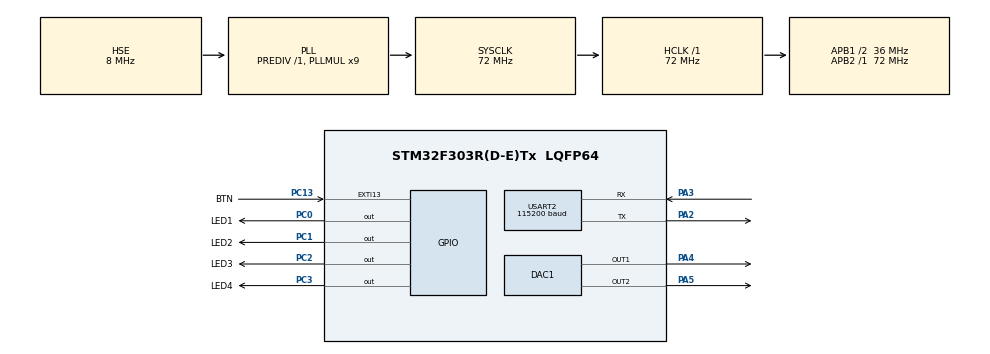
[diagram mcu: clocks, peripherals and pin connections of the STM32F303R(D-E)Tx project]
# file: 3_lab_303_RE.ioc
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DAC1.DAC_Trigger=DAC_TRIGGER_T6_TRGO
DAC1.DAC_Trigger2=DAC_TRIGGER_T7_TRGO
Dma.DAC1_CH1.2.Direction=DMA_MEMORY_TO_PERIPH
Dma.DAC1_CH1.2.Instance=DMA1_Channel3
Dma.DAC1_CH1.2.MemDataAlignment=DMA_MDATAALIGN_HALFWORD
Dma.DAC1_CH1.2.MemInc=DMA_MINC_ENABLE
Dma.DAC1_CH1.2.Mode=DMA_CIRCULAR
Dma.DAC1_CH1.2.PeriphDataAlignment=DMA_PDATAALIGN_HALFWORD
Dma.DAC1_CH1.2.PeriphInc=DMA_PINC_DISABLE
Dma.DAC1_CH1.2.Priority=DMA_PRIORITY_LOW
Dma.DAC1_CH2.3.Direction=DMA_MEMORY_TO_PERIPH
Dma.DAC1_CH2.3.Instance=DMA1_Channel4
Dma.DAC1_CH2.3.MemDataAlignment=DMA_MDATAALIGN_HALFWORD
Dma.DAC1_CH2.3.MemInc=DMA_MINC_ENABLE
Dma.DAC1_CH2.3.Mode=DMA_CIRCULAR
Dma.DAC1_CH2.3.PeriphDataAlignment=DMA_PDATAALIGN_HALFWORD
Dma.DAC1_CH2.3.PeriphInc=DMA_PINC_DISABLE
Dma.DAC1_CH2.3.Priority=DMA_PRIORITY_LOW
Dma.Request0=USART2_RX
Dma.Request1=USART2_TX
Dma.Request2=DAC1_CH1
Dma.Request3=DAC1_CH2
Dma.USART2_RX.0.Direction=DMA_PERIPH_TO_MEMORY
Dma.USART2_RX.0.Instance=DMA1_Channel6
Dma.USART2_RX.0.MemDataAlignment=DMA_MDATAALIGN_BYTE
Dma.USART2_RX.0.MemInc=DMA_MINC_ENABLE
Dma.USART2_RX.0.Mode=DMA_NORMAL
Dma.USART2_RX.0.PeriphDataAlignment=DMA_PDATAALIGN_BYTE
Dma.USART2_RX.0.PeriphInc=DMA_PINC_DISABLE
Dma.USART2_RX.0.Priority=DMA_PRIORITY_LOW
Dma.USART2_TX.1.Direction=DMA_MEMORY_TO_PERIPH
Dma.USART2_TX.1.Instance=DMA1_Channel7
Dma.USART2_TX.1.MemDataAlignment=DMA_MDATAALIGN_BYTE
Dma.USART2_TX.1.MemInc=DMA_MINC_ENABLE
Dma.USART2_TX.1.Mode=DMA_NORMAL
Dma.USART2_TX.1.PeriphDataAlignment=DMA_PDATAALIGN_BYTE
Dma.USART2_TX.1.PeriphInc=DMA_PINC_DISABLE
Dma.USART2_TX.1.Priority=DMA_PRIORITY_LOW
FREERTOS.Tasks01=defaultTask,0,128,StartDefaultTask,Default,NULL,Dynamic,NULL,NULL;myTask02,-3,128,StartTask02,Default,NULL,Dynamic,NULL,NULL
FREERTOS.configUSE_NEWLIB_REENTRANT=1
Mcu.Family=STM32F3
Mcu.Name=STM32F303R(D-E)Tx
Mcu.Package=LQFP64
NVIC.DMA1_Channel3_IRQn=true\:5\:0\:false\:false\:true\:true\:false\:true\:true
NVIC.DMA1_Channel4_IRQn=true\:5\:0\:false\:false\:true\:true\:false\:true\:true
NVIC.DMA1_Channel6_IRQn=true\:5\:0\:false\:false\:true\:true\:false\:true\:true
NVIC.DMA1_Channel7_IRQn=true\:5\:0\:false\:false\:true\:true\:false\:true\:true
NVIC.EXTI15_10_IRQn=true\:5\:0\:false\:false\:true\:true\:true\:true\:true
NVIC.FLASH_IRQn=true\:5\:0\:false\:false\:true\:true\:true\:true\:true
NVIC.FPU_IRQn=true\:5\:0\:false\:false\:true\:true\:true\:false\:true
NVIC.PVD_IRQn=true\:5\:0\:false\:false\:true\:true\:true\:true\:true
NVIC.PriorityGroup=NVIC_PRIORITYGROUP_4
NVIC.RCC_IRQn=true\:5\:0\:false\:false\:true\:true\:true\:false\:true
NVIC.TIM6_DAC_IRQn=true\:5\:0\:false\:false\:true\:true\:true\:true\:true
NVIC.TIM7_IRQn=true\:5\:0\:false\:false\:true\:true\:true\:true\:true
NVIC.USART2_IRQn=true\:5\:0\:false\:false\:true\:true\:true\:true\:true
PA13.Mode=Serial_Wire
PA13.Signal=SYS_JTMS-SWDIO
PA14.Mode=Serial_Wire
PA14.Signal=SYS_JTCK-SWCLK
PA2.Mode=Asynchronous
PA2.Signal=USART2_TX
PA3.Mode=Asynchronous
PA3.Signal=USART2_RX
PA4.Signal=COMP_DAC11_group
PA5.Signal=COMP_DAC12_group
PC0.GPIO_Label=LED1
PC0.Signal=GPIO_Output
PC1.GPIO_Label=LED2
PC1.Signal=GPIO_Output
PC13.GPIO_Label=BTN
PC13.Signal=GPXTI13
PC2.GPIO_Label=LED3
PC2.Signal=GPIO_Output
PC3.GPIO_Label=LED4
PC3.Signal=GPIO_Output
PF0-OSC_IN.Mode=HSE-External-Oscillator
PF0-OSC_IN.Signal=RCC_OSC_IN
PF1-OSC_OUT.Mode=HSE-External-Oscillator
PF1-OSC_OUT.Signal=RCC_OSC_OUT
ProjectManager.HeapSize=0x200
ProjectManager.StackSize=0x400
ProjectManager.TargetToolchain=STM32CubeIDE
RCC.AHBFreq_Value=72000000
RCC.APB1CLKDivider=RCC_HCLK_DIV2
RCC.APB1Freq_Value=36000000
RCC.APB1TimFreq_Value=72000000
RCC.APB2Freq_Value=72000000
RCC.APB2TimFreq_Value=72000000
RCC.CortexFreq_Value=72000000
RCC.HCLKFreq_Value=72000000
RCC.HSE_VALUE=8000000
RCC.HSI_VALUE=8000000
RCC.LSE_VALUE=32768
RCC.PLLMUL=RCC_PLL_MUL9
RCC.PLLSourceVirtual=RCC_PLLSOURCE_HSE
RCC.SYSCLKFreq_VALUE=72000000
RCC.SYSCLKSourceVirtual=RCC_SYSCLKSOURCE_PLLCLK
RCC.USBFreq_Value=72000000
SH.COMP_DAC11_group.0=DAC1_OUT1,DAC_OUT1
SH.COMP_DAC12_group.0=DAC1_OUT2,Enable_DAC_OUT2
TIM6.AutoReloadPreload=TIM_AUTORELOAD_PRELOAD_DISABLE
TIM6.Period=7199
TIM6.Prescaler=0
TIM6.TIM_MasterOutputTrigger=TIM_TRGO_UPDATE
TIM7.Period=7199
TIM7.Prescaler=0
TIM7.TIM_MasterOutputTrigger=TIM_TRGO_UPDATE
USART2.BaudRate=115200
USART2.VirtualMode-Asynchronous=VM_ASYNC
VP_FREERTOS_VS_CMSIS_V1.Mode=CMSIS_V1
VP_TIM6_VS_ClockSourceINT.Mode=Enable_Timer
VP_TIM7_VS_ClockSourceINT.Mode=Enable_Timer
board=custom

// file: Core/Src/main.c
/* USER CODE BEGIN Header */
/**
  ******************************************************************************
  * @file           : main.c
  * @brief          : Main program body
  ******************************************************************************
  * @attention
  *
  * Copyright (c) 2023 STMicroelectronics.
  * All rights reserved.
  *
  * This software is licensed under terms that can be found in the LICENSE file
  * in the root directory of this software component.
  * If no LICENSE file comes with this software, it is provided AS-IS.
  *
  ******************************************************************************
  */
/* USER CODE END Header */
#include "main.h"
#include "cmsis_os.h"

/* USER CODE BEGIN Includes */
#include "stdio.h"
#include <string.h>
#include <stdlib.h>
#include <ctype.h>
#include <math.h>
#include "main.h"
#include "cmsis_os.h"
/* USER CODE END Includes */

/* USER CODE BEGIN PD */
#define RxBuf_SIZE 16
#define TxBuf_SIZE 1024
#define DAC_BUFFER_SIZE 256
/* USER CODE END PD */

DAC_HandleTypeDef hdac1;
DMA_HandleTypeDef hdma_dac1_ch1;
DMA_HandleTypeDef hdma_dac1_ch2;

TIM_HandleTypeDef htim6;
TIM_HandleTypeDef htim7;

UART_HandleTypeDef huart2;
DMA_HandleTypeDef hdma_usart2_rx;
DMA_HandleTypeDef hdma_usart2_tx;

osThreadId defaultTaskHandle;
osThreadId myTask02Handle;
/* USER CODE BEGIN PV */
uint8_t TxBuf[TxBuf_SIZE];
uint8_t RxBuf[RxBuf_SIZE];
StackType_t task2_stack[configMINIMAL_STACK_SIZE];
StaticTask_t task2_TCB;

int count = 0;
int size = 0;
int flag = 0;

/* USER CODE END PV */

void SystemClock_Config(void);
static void MX_GPIO_Init(void);
static void MX_DMA_Init(void);
static void MX_USART2_UART_Init(void);
static void MX_DAC1_Init(void);
static void MX_TIM6_Init(void);
static void MX_TIM7_Init(void);
void StartDefaultTask(void const * argument);
void StartTask02(void const * argument);

/* USER CODE BEGIN PFP */
void Task1(void *pvParameters);
void Task2(void *pvParameters);
/* USER CODE END PFP */

/* USER CODE BEGIN 0 */
void blind_first_pair() {
  if (flag == 1) {
    HAL_GPIO_TogglePin(GPIOC, LED1_Pin);
    HAL_GPIO_TogglePin(GPIOC, LED2_Pin);
    vTaskDelay(1000/ portTICK_RATE_MS);
  } else if (flag == 2) {
    HAL_GPIO_TogglePin(GPIOC, LED1_Pin);
    HAL_GPIO_TogglePin(GPIOC, LED2_Pin);
    vTaskDelay(500/ portTICK_RATE_MS);
  }
}

void blind_second_pair() {
  if (flag == 1) {
    HAL_GPIO_TogglePin(GPIOC, LED3_Pin);
    HAL_GPIO_TogglePin(GPIOC, LED4_Pin);
    vTaskDelay(1000 / portTICK_RATE_MS);
  } else if (flag == 2) {
    HAL_GPIO_TogglePin(GPIOC, LED3_Pin);
    HAL_GPIO_TogglePin(GPIOC, LED4_Pin);
    vTaskDelay(500 / portTICK_RATE_MS);
  }
}

void Task1(void *pvParameters){
	for(;;){
		blind_first_pair();
	}
}
void Task2(void *pvParameters){
	for(;;){
		blind_second_pair();
	}
}

void HAL_GPIO_EXTI_Callback(uint16_t GPIO_Pin)
{

	flag = flag % 2 + 1;

}

/* USER CODE END 0 */

int main(void)
{

  /* MCU Configuration--------------------------------------------------------*/

  /* Reset of all peripherals, Initializes the Flash interface and the Systick. */
  HAL_Init();

  /* Configure the system clock */
  SystemClock_Config();

  /* Initialize all configured peripherals */
  MX_GPIO_Init();
  MX_DMA_Init();
  MX_USART2_UART_Init();
  MX_DAC1_Init();
  MX_TIM6_Init();
  MX_TIM7_Init();
  /* USER CODE BEGIN 2 */
  HAL_DAC_Init(&hdac1);
  HAL_TIM_Base_Start(&htim6);
  HAL_TIM_Base_Start(&htim7);

  HAL_UARTEx_ReceiveToIdle_DMA(&huart2, (uint8_t *) RxBuf, RxBuf_SIZE);
 __HAL_DMA_DISABLE_IT(&hdma_usart2_rx, DMA_IT_HT);
  /* USER CODE END 2 */

  /* Create the thread(s) */
  /* definition and creation of defaultTask */
  osThreadDef(defaultTask, StartDefaultTask, osPriorityNormal, 0, 128);
  defaultTaskHandle = osThreadCreate(osThread(defaultTask), NULL);

  /* definition and creation of myTask02 */
  osThreadDef(myTask02, StartTask02, osPriorityIdle, 0, 128);
  myTask02Handle = osThreadCreate(osThread(myTask02), NULL);

  /* USER CODE BEGIN RTOS_THREADS */
  /* add threads, ... */
  xTaskCreate(Task1, "led1-2", configMINIMAL_STACK_SIZE, NULL, 1, NULL);
  xTaskCreateStatic(Task2, "led3-4", configMINIMAL_STACK_SIZE, NULL, 1, task2_stack, &task2_TCB);
  /* USER CODE END RTOS_THREADS */

  /* Start scheduler */
  osKernelStart();

  /* We should never get here as control is now taken by the scheduler */
  /* Infinite loop */
 while (1)
 {

 }
}

void SystemClock_Config(void)
{
  RCC_OscInitTypeDef RCC_OscInitStruct = {0};
  RCC_ClkInitTypeDef RCC_ClkInitStruct = {0};
  RCC_PeriphCLKInitTypeDef PeriphClkInit = {0};

  /** Initializes the RCC Oscillators according to the specified parameters
  * in the RCC_OscInitTypeDef structure.
  */
  RCC_OscInitStruct.OscillatorType = RCC_OSCILLATORTYPE_HSE;
  RCC_OscInitStruct.HSEState = RCC_HSE_ON;
  RCC_OscInitStruct.HSIState = RCC_HSI_ON;
  RCC_OscInitStruct.PLL.PLLState = RCC_PLL_ON;
  RCC_OscInitStruct.PLL.PLLSource = RCC_PLLSOURCE_HSE;
  RCC_OscInitStruct.PLL.PLLMUL = RCC_PLL_MUL9;
  RCC_OscInitStruct.PLL.PREDIV = RCC_PREDIV_DIV1;
  if (HAL_RCC_OscConfig(&RCC_OscInitStruct) != HAL_OK)
  {
    Error_Handler();
  }

  /** Initializes the CPU, AHB and APB buses clocks
  */
  RCC_ClkInitStruct.ClockType = RCC_CLOCKTYPE_HCLK|RCC_CLOCKTYPE_SYSCLK
                              |RCC_CLOCKTYPE_PCLK1|RCC_CLOCKTYPE_PCLK2;
  RCC_ClkInitStruct.SYSCLKSource = RCC_SYSCLKSOURCE_PLLCLK;
  RCC_ClkInitStruct.AHBCLKDivider = RCC_SYSCLK_DIV1;
  RCC_ClkInitStruct.APB1CLKDivider = RCC_HCLK_DIV2;
  RCC_ClkInitStruct.APB2CLKDivider = RCC_HCLK_DIV1;

  if (HAL_RCC_ClockConfig(&RCC_ClkInitStruct, FLASH_LATENCY_2) != HAL_OK)
  {
    Error_Handler();
  }
  PeriphClkInit.PeriphClockSelection = RCC_PERIPHCLK_USART2;
  PeriphClkInit.Usart2ClockSelection = RCC_USART2CLKSOURCE_PCLK1;
  if (HAL_RCCEx_PeriphCLKConfig(&PeriphClkInit) != HAL_OK)
  {
    Error_Handler();
  }
}

static void MX_DAC1_Init(void)
{

  DAC_ChannelConfTypeDef sConfig = {0};

  /** DAC Initialization
  */
  hdac1.Instance = DAC1;
  if (HAL_DAC_Init(&hdac1) != HAL_OK)
  {
    Error_Handler();
  }

  /** DAC channel OUT1 config
  */
  sConfig.DAC_Trigger = DAC_TRIGGER_T6_TRGO;
  sConfig.DAC_OutputBuffer = DAC_OUTPUTBUFFER_ENABLE;
  if (HAL_DAC_ConfigChannel(&hdac1, &sConfig, DAC_CHANNEL_1) != HAL_OK)
  {
    Error_Handler();
  }

  /** DAC channel OUT2 config
  */
  sConfig.DAC_Trigger = DAC_TRIGGER_T7_TRGO;
  if (HAL_DAC_ConfigChannel(&hdac1, &sConfig, DAC_CHANNEL_2) != HAL_OK)
  {
    Error_Handler();
  }

}

static void MX_TIM6_Init(void)
{

  TIM_MasterConfigTypeDef sMasterConfig = {0};

  htim6.Instance = TIM6;
  htim6.Init.Prescaler = 0;
  htim6.Init.CounterMode = TIM_COUNTERMODE_UP;
  htim6.Init.Period = 7199;
  htim6.Init.AutoReloadPreload = TIM_AUTORELOAD_PRELOAD_DISABLE;
  if (HAL_TIM_Base_Init(&htim6) != HAL_OK)
  {
    Error_Handler();
  }
  sMasterConfig.MasterOutputTrigger = TIM_TRGO_UPDATE;
  sMasterConfig.MasterSlaveMode = TIM_MASTERSLAVEMODE_DISABLE;
  if (HAL_TIMEx_MasterConfigSynchronization(&htim6, &sMasterConfig) != HAL_OK)
  {
    Error_Handler();
  }

}

static void MX_TIM7_Init(void)
{

  TIM_MasterConfigTypeDef sMasterConfig = {0};

  htim7.Instance = TIM7;
  htim7.Init.Prescaler = 0;
  htim7.Init.CounterMode = TIM_COUNTERMODE_UP;
  htim7.Init.Period = 7199;
  htim7.Init.AutoReloadPreload = TIM_AUTORELOAD_PRELOAD_DISABLE;
  if (HAL_TIM_Base_Init(&htim7) != HAL_OK)
  {
    Error_Handler();
  }
  sMasterConfig.MasterOutputTrigger = TIM_TRGO_UPDATE;
  sMasterConfig.MasterSlaveMode = TIM_MASTERSLAVEMODE_DISABLE;
  if (HAL_TIMEx_MasterConfigSynchronization(&htim7, &sMasterConfig) != HAL_OK)
  {
    Error_Handler();
  }

}

static void MX_USART2_UART_Init(void)
{

  huart2.Instance = USART2;
  huart2.Init.BaudRate = 115200;
  huart2.Init.WordLength = UART_WORDLENGTH_8B;
  huart2.Init.StopBits = UART_STOPBITS_1;
  huart2.Init.Parity = UART_PARITY_NONE;
  huart2.Init.Mode = UART_MODE_TX_RX;
  huart2.Init.HwFlowCtl = UART_HWCONTROL_NONE;
  huart2.Init.OverSampling = UART_OVERSAMPLING_16;
  huart2.Init.OneBitSampling = UART_ONE_BIT_SAMPLE_DISABLE;
  huart2.AdvancedInit.AdvFeatureInit = UART_ADVFEATURE_NO_INIT;
  if (HAL_UART_Init(&huart2) != HAL_OK)
  {
    Error_Handler();
  }

}

static void MX_DMA_Init(void)
{

  /* DMA controller clock enable */
  __HAL_RCC_DMA1_CLK_ENABLE();

  /* DMA interrupt init */
  /* DMA1_Channel3_IRQn interrupt configuration */
  HAL_NVIC_SetPriority(DMA1_Channel3_IRQn, 5, 0);
  HAL_NVIC_EnableIRQ(DMA1_Channel3_IRQn);
  /* DMA1_Channel4_IRQn interrupt configuration */
  HAL_NVIC_SetPriority(DMA1_Channel4_IRQn, 5, 0);
  HAL_NVIC_EnableIRQ(DMA1_Channel4_IRQn);
  /* DMA1_Channel6_IRQn interrupt configuration */
  HAL_NVIC_SetPriority(DMA1_Channel6_IRQn, 5, 0);
  HAL_NVIC_EnableIRQ(DMA1_Channel6_IRQn);
  /* DMA1_Channel7_IRQn interrupt configuration */
  HAL_NVIC_SetPriority(DMA1_Channel7_IRQn, 5, 0);
  HAL_NVIC_EnableIRQ(DMA1_Channel7_IRQn);

}

static void MX_GPIO_Init(void)
{
  GPIO_InitTypeDef GPIO_InitStruct = {0};

  /* GPIO Ports Clock Enable */
  __HAL_RCC_GPIOC_CLK_ENABLE();
  __HAL_RCC_GPIOF_CLK_ENABLE();
  __HAL_RCC_GPIOA_CLK_ENABLE();

  /*Configure GPIO pin Output Level */
  HAL_GPIO_WritePin(GPIOC, LED1_Pin|LED2_Pin|LED3_Pin|LED4_Pin, GPIO_PIN_RESET);

  /*Configure GPIO pin : BTN_Pin */
  GPIO_InitStruct.Pin = BTN_Pin;
  GPIO_InitStruct.Mode = GPIO_MODE_IT_RISING;
  GPIO_InitStruct.Pull = GPIO_NOPULL;
  HAL_GPIO_Init(BTN_GPIO_Port, &GPIO_InitStruct);

  /*Configure GPIO pins : LED1_Pin LED2_Pin LED3_Pin LED4_Pin */
  GPIO_InitStruct.Pin = LED1_Pin|LED2_Pin|LED3_Pin|LED4_Pin;
  GPIO_InitStruct.Mode = GPIO_MODE_OUTPUT_PP;
  GPIO_InitStruct.Pull = GPIO_NOPULL;
  GPIO_InitStruct.Speed = GPIO_SPEED_FREQ_LOW;
  HAL_GPIO_Init(GPIOC, &GPIO_InitStruct);

  /* EXTI interrupt init*/
  HAL_NVIC_SetPriority(EXTI15_10_IRQn, 5, 0);
  HAL_NVIC_EnableIRQ(EXTI15_10_IRQn);

}

void StartDefaultTask(void const * argument)
{
  for(;;)
  {
    osDelay(1);
  }
}

void StartTask02(void const * argument)
{
  for(;;)
  {
    osDelay(1);
  }
}

void Error_Handler(void)
{
  __disable_irq();
  while (1)
  {
  }
}
